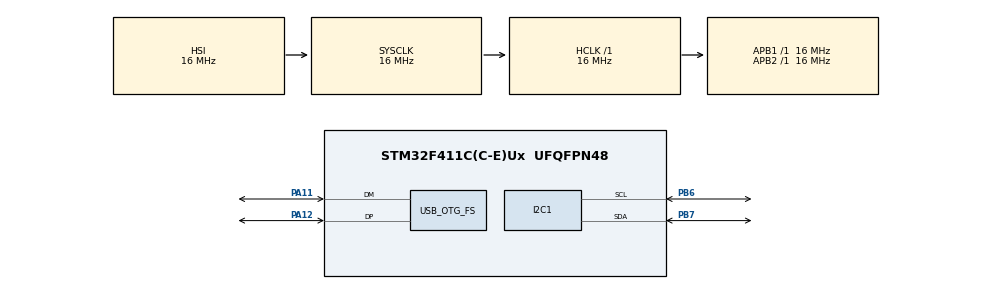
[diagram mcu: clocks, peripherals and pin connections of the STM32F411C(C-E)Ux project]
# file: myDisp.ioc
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FREERTOS.Tasks01=defaultTask,24,128,StartDefaultTask,Default,NULL,Dynamic,NULL,NULL
I2C1.DutyCycle=I2C_DUTYCYCLE_2
I2C1.I2C_Mode=I2C_Fast
Mcu.Family=STM32F4
Mcu.Name=STM32F411C(C-E)Ux
Mcu.Package=UFQFPN48
NVIC.OTG_FS_IRQn=true\:0\:0\:false\:false\:true\:false\:false\:true
NVIC.PriorityGroup=NVIC_PRIORITYGROUP_4
PA11.Mode=Device_Only
PA11.Signal=USB_OTG_FS_DM
PA12.Mode=Device_Only
PA12.Signal=USB_OTG_FS_DP
PB6.Mode=I2C
PB6.Signal=I2C1_SCL
PB7.Mode=I2C
PB7.Signal=I2C1_SDA
PC14-OSC32_IN.Mode=LSE-External-Oscillator
PC14-OSC32_IN.Signal=RCC_OSC32_IN
PC15-OSC32_OUT.Mode=LSE-External-Oscillator
PC15-OSC32_OUT.Signal=RCC_OSC32_OUT
PH0\ -\ OSC_IN.Mode=HSE-External-Oscillator
PH0\ -\ OSC_IN.Signal=RCC_OSC_IN
PH1\ -\ OSC_OUT.Mode=HSE-External-Oscillator
PH1\ -\ OSC_OUT.Signal=RCC_OSC_OUT
ProjectManager.HeapSize=0x200
ProjectManager.StackSize=0x400
ProjectManager.TargetToolchain=STM32CubeIDE
RCC.48MHZClocksFreq_Value=48000000
RCC.AHBFreq_Value=16000000
RCC.APB1Freq_Value=16000000
RCC.APB2Freq_Value=16000000
RCC.CortexFreq_Value=16000000
RCC.HSE_VALUE=25000000
RCC.HSI_VALUE=16000000
RCC.PLLM=15
RCC.PLLN=144
RCC.PLLQ=5
RCC.SYSCLKFreq_VALUE=16000000
RCC.VCOOutputFreq_Value=240000000
USB_DEVICE.CLASS_NAME_FS=CDC
USB_DEVICE.VirtualMode=Cdc
USB_DEVICE.VirtualModeFS=Cdc_FS
USB_OTG_FS.VirtualMode=Device_Only
VP_FREERTOS_VS_CMSIS_V2.Mode=CMSIS_V2
VP_USB_DEVICE_VS_USB_DEVICE_CDC_FS.Mode=CDC_FS
board=custom

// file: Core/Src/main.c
/* USER CODE BEGIN Header */
/**
  ******************************************************************************
  * @file           : main.c
  * @brief          : Main program body
  ******************************************************************************
  * @attention
  *
  * <h2><center>&copy; Copyright (c) 2020 STMicroelectronics.
  * All rights reserved.</center></h2>
  *
  * This software component is licensed by ST under BSD 3-Clause license,
  * the "License"; You may not use this file except in compliance with the
  * License. You may obtain a copy of the License at:
  *                        opensource.org/licenses/BSD-3-Clause
  *
  ******************************************************************************
  */
/* USER CODE END Header */
#include "main.h"
#include "cmsis_os.h"
#include "usb_device.h"

I2C_HandleTypeDef hi2c1;

/* Definitions for defaultTask */
osThreadId_t defaultTaskHandle;
const osThreadAttr_t defaultTask_attributes = {
  .name = "defaultTask",
  .priority = (osPriority_t) osPriorityNormal,
  .stack_size = 128 * 4
};

void SystemClock_Config(void);
static void MX_GPIO_Init(void);
static void MX_I2C1_Init(void);
void StartDefaultTask(void *argument);

/* USER CODE BEGIN PFP */
static void myTest();
static void testCir();
static void testCirb();
static void testRect1();
/* USER CODE END PFP */

int main(void)
{

  /* MCU Configuration--------------------------------------------------------*/

  /* Reset of all peripherals, Initializes the Flash interface and the Systick. */
  HAL_Init();

  /* Configure the system clock */
  SystemClock_Config();

  /* Initialize all configured peripherals */
  MX_GPIO_Init();
  MX_I2C1_Init();

  /* Init scheduler */
  osKernelInitialize();

  /* Create the thread(s) */
  /* creation of defaultTask */
  defaultTaskHandle = osThreadNew(StartDefaultTask, NULL, &defaultTask_attributes);

  /* Start scheduler */
  osKernelStart();

  /* We should never get here as control is now taken by the scheduler */
  /* Infinite loop */
  /* USER CODE BEGIN WHILE */
  while (1)
  {
	  myTest();
	 // ssd1306_TestAll();
	  HAL_Delay(1000);
    /* USER CODE END WHILE */

  }
}

void SystemClock_Config(void)
{
  RCC_OscInitTypeDef RCC_OscInitStruct = {0};
  RCC_ClkInitTypeDef RCC_ClkInitStruct = {0};

  /** Configure the main internal regulator output voltage
  */
  __HAL_RCC_PWR_CLK_ENABLE();
  __HAL_PWR_VOLTAGESCALING_CONFIG(PWR_REGULATOR_VOLTAGE_SCALE1);
  /** Initializes the RCC Oscillators according to the specified parameters
  * in the RCC_OscInitTypeDef structure.
  */
  RCC_OscInitStruct.OscillatorType = RCC_OSCILLATORTYPE_HSI|RCC_OSCILLATORTYPE_HSE;
  RCC_OscInitStruct.HSEState = RCC_HSE_ON;
  RCC_OscInitStruct.HSIState = RCC_HSI_ON;
  RCC_OscInitStruct.HSICalibrationValue = RCC_HSICALIBRATION_DEFAULT;
  RCC_OscInitStruct.PLL.PLLState = RCC_PLL_ON;
  RCC_OscInitStruct.PLL.PLLSource = RCC_PLLSOURCE_HSE;
  RCC_OscInitStruct.PLL.PLLM = 15;
  RCC_OscInitStruct.PLL.PLLN = 144;
  RCC_OscInitStruct.PLL.PLLP = RCC_PLLP_DIV2;
  RCC_OscInitStruct.PLL.PLLQ = 5;
  if (HAL_RCC_OscConfig(&RCC_OscInitStruct) != HAL_OK)
  {
    Error_Handler();
  }
  /** Initializes the CPU, AHB and APB buses clocks
  */
  RCC_ClkInitStruct.ClockType = RCC_CLOCKTYPE_HCLK|RCC_CLOCKTYPE_SYSCLK
                              |RCC_CLOCKTYPE_PCLK1|RCC_CLOCKTYPE_PCLK2;
  RCC_ClkInitStruct.SYSCLKSource = RCC_SYSCLKSOURCE_HSI;
  RCC_ClkInitStruct.AHBCLKDivider = RCC_SYSCLK_DIV1;
  RCC_ClkInitStruct.APB1CLKDivider = RCC_HCLK_DIV1;
  RCC_ClkInitStruct.APB2CLKDivider = RCC_HCLK_DIV1;

  if (HAL_RCC_ClockConfig(&RCC_ClkInitStruct, FLASH_LATENCY_0) != HAL_OK)
  {
    Error_Handler();
  }
}

static void MX_I2C1_Init(void)
{

  hi2c1.Instance = I2C1;
  hi2c1.Init.ClockSpeed = 100000*4;
  hi2c1.Init.DutyCycle = I2C_DUTYCYCLE_2;
  hi2c1.Init.OwnAddress1 = 0;
  hi2c1.Init.AddressingMode = I2C_ADDRESSINGMODE_7BIT;
  hi2c1.Init.DualAddressMode = I2C_DUALADDRESS_DISABLE;
  hi2c1.Init.OwnAddress2 = 0;
  hi2c1.Init.GeneralCallMode = I2C_GENERALCALL_DISABLE;
  hi2c1.Init.NoStretchMode = I2C_NOSTRETCH_DISABLE;
  if (HAL_I2C_Init(&hi2c1) != HAL_OK)
  {
    Error_Handler();
  }

}

static void MX_GPIO_Init(void)
{

  /* GPIO Ports Clock Enable */
  __HAL_RCC_GPIOC_CLK_ENABLE();
  __HAL_RCC_GPIOH_CLK_ENABLE();
  __HAL_RCC_GPIOA_CLK_ENABLE();
  __HAL_RCC_GPIOB_CLK_ENABLE();

}

/* USER CODE BEGIN 4 */
void myTest()
{
	ssd1306_Init();
	ssd1306_Fill(Black);
	ssd1306_WriteString("$Vasiliu$", Font_16x26, White);
	char str[] ="My name is Vasiliu pupkin, I live in Ukraine!!! ";
	char str2[] ="Peter Martyr Vermigli (8 September 1499 - 12 November 1562) was an Italian theologian.  ";
	for(int i=0; i<sizeof(str); i++)
	{
		ssd1306_SetCursor(2, 30);
		ssd1306_WriteString(str+i, Font_11x18, White);
		ssd1306_UpdateScreen();
		HAL_Delay(40);

		ssd1306_SetCursor(2, 52);
		ssd1306_WriteString(str2+(uint8_t)(1.5*i), Font_7x10, White);
		ssd1306_UpdateScreen();

	}
	HAL_Delay(500);
	ssd1306_Fill(Black);
//	ssd1306_WriteString("Тестовая версия русского шрифта", Font_5x7, White);
//	ssd1306_UpdateScreen();
//	HAL_Delay(3000);
	for(int i=0; i<20; i++)
	{
		ssd1306_DrawRectangle(0+i, 0+i, 50+i, 50+i, White);
		ssd1306_UpdateScreen();
	}
	for(int i=0; i<20; i++)
	{
		ssd1306_DrawRectangle(0+i, 0+i, 50+i, 50+i, Black);
		ssd1306_UpdateScreen();
	}
	for(int i=0; i<40; i++)
	{
		ssd1306_DrawRectangle(40+i, 20+i, 90-i, 40-i, White);
		ssd1306_UpdateScreen();
	}
	for(int i=0; i<40; i++)
	{
		ssd1306_DrawRectangle(40+i, 20+i, 90-i, 40-i, Black);
		ssd1306_UpdateScreen();
	}
	ssd1306_TestRectangle();
	testRect1();

	testCir();
	testCirb();
}

void testCir()
{
	for(int delta = 0; delta < 40; delta ++)
	{
		ssd1306_DrawCircle(SSD1306_WIDTH/2, SSD1306_HEIGHT/2, delta*2, White);
		ssd1306_UpdateScreen();
	}
	for(int delta = 0; delta < 40; delta ++)
	{
		ssd1306_DrawCircle(SSD1306_WIDTH/2, SSD1306_HEIGHT/2, delta*2, Black);
		ssd1306_UpdateScreen();
	}

}

void testCirb()
{
	for(int delta=40; delta>0; delta--)
	{
		ssd1306_DrawCircle(SSD1306_WIDTH/2, SSD1306_HEIGHT/2, delta*2, White);
		ssd1306_UpdateScreen();
	}
	for(int delta=40; delta>0; delta--)
	{
		ssd1306_DrawCircle(SSD1306_WIDTH/2, SSD1306_HEIGHT/2, delta*2, Black);
		ssd1306_UpdateScreen();
	}

}

void testRect1()
{
  int i;

  for(i=7; i>=0; i--)
  {
    ssd1306_DrawRectangle(1 + (5*i),1 + (5*i) ,SSD1306_WIDTH-1 - (5*i),SSD1306_HEIGHT-1 - (5*i),White);
    ssd1306_UpdateScreen();
    HAL_Delay(75);
  }
	{
		  HAL_Delay(50);
		  ssd1306_Line(1,1,SSD1306_WIDTH - 1,SSD1306_HEIGHT - 1,Black);
		  ssd1306_UpdateScreen();
		  ssd1306_Line(SSD1306_WIDTH - 1,1,1,SSD1306_HEIGHT - 1,Black);
		  ssd1306_UpdateScreen();
	}
  for(i=7; i>=0; i--)
  {
	  ssd1306_DrawRectangle(1 + (5*i),1 + (5*i) ,SSD1306_WIDTH-1 - (5*i),SSD1306_HEIGHT-1 - (5*i),Black);
	  ssd1306_UpdateScreen();
	  HAL_Delay(75);
  }
  ssd1306_UpdateScreen();
}
/* USER CODE END 4 */

void StartDefaultTask(void *argument)
{
  /* init code for USB_DEVICE */
  MX_USB_DEVICE_Init();
  /* USER CODE BEGIN 5 */
  /* Infinite loop */
  for(;;)
  {
	  myTest();
	 // ssd1306_TestAll();
	  //HAL_Delay(1000);
  }
  /* USER CODE END 5 */
}

void Error_Handler(void)
{
}

/************************ (C) COPYRIGHT STMicroelectronics *****END OF FILE****/
